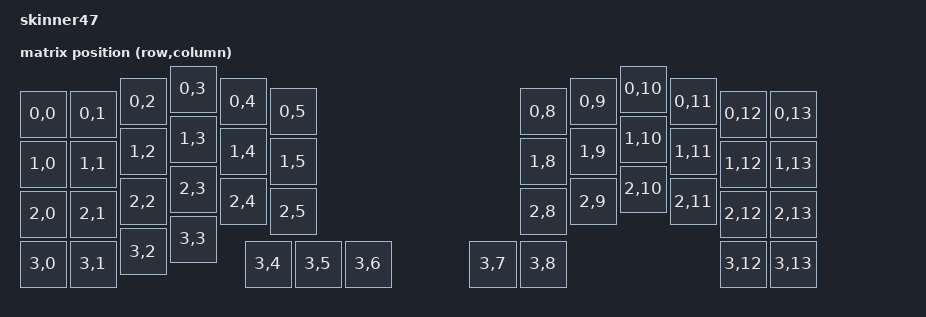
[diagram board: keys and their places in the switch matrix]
/*
 * Copyright (c) 2020 The ZMK Contributors
 *
 * SPDX-License-Identifier: MIT
 */

/dts-v1/;
#include <nordic/nrf52840_qiaa.dtsi>
#include <dt-bindings/zmk/matrix_transform.h>
#include <physical_layouts.dtsi>

/ {
    model = "skinner47";
    compatible = "yangxing,skinner47";

    chosen {
        zephyr,code-partition = &code_partition;
        zephyr,sram = &sram0;
        zephyr,flash = &flash0;
        zmk,battery = &vbatt;
    };

    default_transform: keymap_transform_0 {
        compatible = "zmk,matrix-transform";
        columns = <14>;
        rows = <4>;
        map = <
            RC(0,0) RC(0,1) RC(0,2) RC(0,3) RC(0,4) RC(0,5)                 RC(0,8) RC(0,9) RC(0,10) RC(0,11) RC(0,12) RC(0,13)
            RC(1,0) RC(1,1) RC(1,2) RC(1,3) RC(1,4) RC(1,5)                 RC(1,8) RC(1,9) RC(1,10) RC(1,11) RC(1,12) RC(1,13)
            RC(2,0) RC(2,1) RC(2,2) RC(2,3) RC(2,4) RC(2,5)                 RC(2,8) RC(2,9) RC(2,10) RC(2,11) RC(2,12) RC(2,13)
            RC(3,0) RC(3,1) RC(3,2) RC(3,3) RC(3,4) RC(3,5) RC(3,6) RC(3,7) RC(3,8)                           RC(3,12) RC(3,13)
        >;
    };



 matrix_physical_layout: matrix_physical_layout {
 	 compatible = "zmk,physical-layout";
 	 display-name = "skinner47";
 	
	 transform = <&default_transform>;
      keys  //                     w   h    x    y     rot    rx    ry
            = <&key_physical_attrs 100 100    0   50       0     0     0>
            , <&key_physical_attrs 100 100  100   50       0     0     0>
            , <&key_physical_attrs 100 100  200   25       0     0     0>
            , <&key_physical_attrs 100 100  300    0       0     0     0>
            , <&key_physical_attrs 100 100  400   25       0     0     0>
            , <&key_physical_attrs 100 100  500   45       0     0     0>
            , <&key_physical_attrs 100 100 1000   45       0     0     0>
            , <&key_physical_attrs 100 100 1100   25       0     0     0>
            , <&key_physical_attrs 100 100 1200    0       0     0     0>
            , <&key_physical_attrs 100 100 1300   25       0     0     0>
            , <&key_physical_attrs 100 100 1400   50       0     0     0>
            , <&key_physical_attrs 100 100 1500   50       0     0     0>
            , <&key_physical_attrs 100 100    0  150       0     0     0>
            , <&key_physical_attrs 100 100  100  150       0     0     0>
            , <&key_physical_attrs 100 100  200  125       0     0     0>
            , <&key_physical_attrs 100 100  300  100       0     0     0>
            , <&key_physical_attrs 100 100  400  125       0     0     0>
            , <&key_physical_attrs 100 100  500  145       0     0     0>
            , <&key_physical_attrs 100 100 1000  145       0     0     0>
            , <&key_physical_attrs 100 100 1100  125       0     0     0>
            , <&key_physical_attrs 100 100 1200  100       0     0     0>
            , <&key_physical_attrs 100 100 1300  125       0     0     0>
            , <&key_physical_attrs 100 100 1400  150       0     0     0>
            , <&key_physical_attrs 100 100 1500  150       0     0     0>
            , <&key_physical_attrs 100 100    0  250       0     0     0>
            , <&key_physical_attrs 100 100  100  250       0     0     0>
            , <&key_physical_attrs 100 100  200  225       0     0     0>
            , <&key_physical_attrs 100 100  300  200       0     0     0>
            , <&key_physical_attrs 100 100  400  225       0     0     0>
            , <&key_physical_attrs 100 100  500  245       0     0     0>
            , <&key_physical_attrs 100 100 1000  245       0     0     0>
            , <&key_physical_attrs 100 100 1100  225       0     0     0>
            , <&key_physical_attrs 100 100 1200  200       0     0     0>
            , <&key_physical_attrs 100 100 1300  225       0     0     0>
            , <&key_physical_attrs 100 100 1400  250       0     0     0>
            , <&key_physical_attrs 100 100 1500  250       0     0     0>
            , <&key_physical_attrs 100 100    0  350       0     0     0>
            , <&key_physical_attrs 100 100  100  350       0     0     0>
            , <&key_physical_attrs 100 100  200  325       0     0     0>
            , <&key_physical_attrs 100 100  300  300       0     0     0>
            , <&key_physical_attrs 100 100  450  350       0     0     0>
            , <&key_physical_attrs 100 100  550  350       0     0     0>
            , <&key_physical_attrs 100 100  650  350       0     0     0>
            , <&key_physical_attrs 100 100  900  350       0     0     0>
            , <&key_physical_attrs 100 100 1000  350       0     0     0>
            , <&key_physical_attrs 100 100 1400  350       0     0     0>
            , <&key_physical_attrs 100 100 1500  350       0     0     0>
            ;
  };

    vbatt: vbatt {
        compatible = "zmk,battery-voltage-divider";
				io-channels = <&adc 5>;
				output-ohms = <2000000>;
				full-ohms = <(2000000+ 806000)>;
    };
};

&adc {
    status = "okay";
};
&gpiote {
    status = "okay";
};

&gpio0 {
    status = "okay";
};

&gpio1 {
    status = "okay";
};

zephyr_udc0:&usbd {
		status = "okay";
};



&flash0 {
    /*
     * For more information, see:
     * http://docs.zephyrproject.org/latest/devices/dts/flash_partitions.html
     */
    partitions {
        compatible = "fixed-partitions";
        #address-cells = <1>;
        #size-cells = <1>;

        sd_partition: partition@0 {
            reg = <0x00000000 0x00026000>;
        };
        code_partition: partition@26000 {
            reg = <0x00026000 0x000c6000>;
        };

        /*
         * The flash starting at 0x000ec000 and ending at
         * 0x000f3fff is reserved for use by the application.
         */

        /*
         * Storage partition will be used by FCB/LittleFS/NVS
         * if enabled.
         */
        storage_partition: partition@ec000 {
            reg = <0x000ec000 0x00008000>;
        };

        boot_partition: partition@f4000 {
            reg = <0x000f4000 0x0000c000>;
        };
    };
};

/ {
    split_inputs {
        #address-cells = <1>;
        #size-cells = <0>;

        pmw_split: pmw_split@0 {
            compatible = "zmk,input-split";
            reg = <0>;
        };
    };

    pmw_listener: pmw_listener {
        compatible = "zmk,input-listener";
        status = "disabled";
        device = <&pmw_split>;
    };
};
